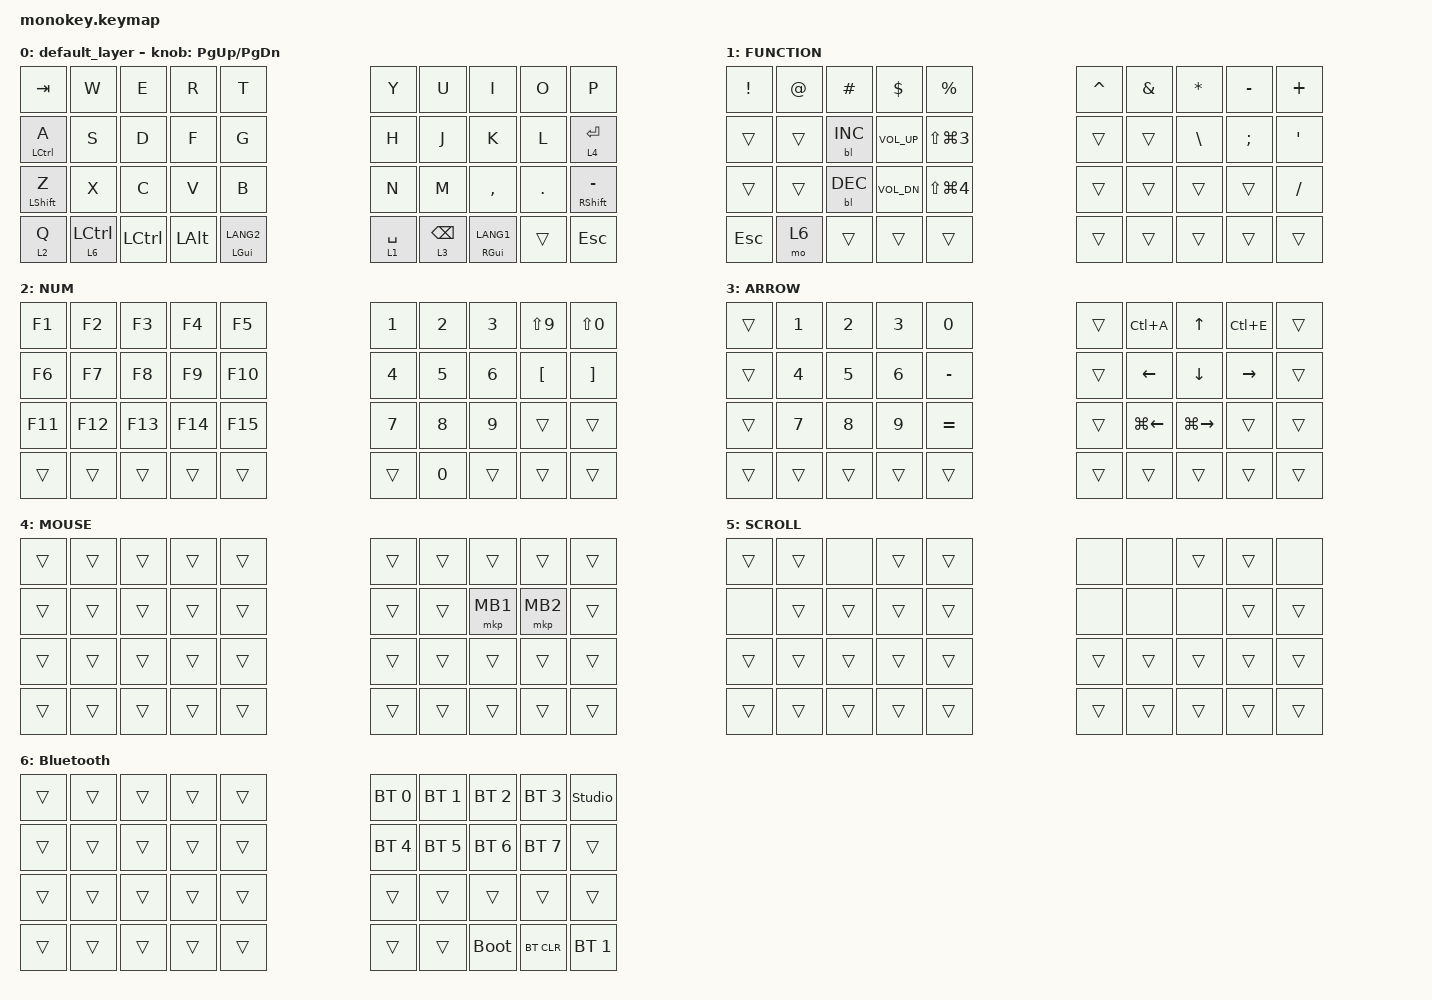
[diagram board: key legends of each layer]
#include <behaviors.dtsi>
#include <dt-bindings/zmk/backlight.h>
#include <dt-bindings/zmk/bt.h>
#include <dt-bindings/zmk/keys.h>
#include <dt-bindings/zmk/pointing.h>

#define MOUSE 4
#define SCROLL 5
#define NUM 6

&mt {
    flavor = "balanced";
    tapping-term-ms = <280>;
    quick-tap-ms = <175>;
    require-prior-idle-ms = <150>;};

&lt { quick-tap-ms = <300>; };

/ {
    combos {
        compatible = "zmk,combos";

        scroll {
            bindings = <&mo 5>;
            key-positions = <17 18>;
        };
    };

    behaviors {
        right_click: right_click_behavior {
            compatible = "zmk,behavior-mouse-key";
            label = "RIGHT_CLICK";
            #binding-cells = <0>;
            bindings = <&mkp MB2>;
        };
    };

    keymap {
        compatible = "zmk,keymap";

        default_layer {
            bindings = <
&kp TAB       &kp W        &kp E      &kp R     &kp T                                         &kp Y           &kp U  &kp I      &kp O    &kp P
&mt LCTRL A   &kp S        &kp D      &kp F     &kp G                                         &kp H           &kp J  &kp K      &kp L    &lt 4 ENTER
&mt LSHIFT Z  &kp X        &kp C      &kp V     &kp B                                         &kp N           &kp M  &kp COMMA  &kp DOT  &mt RSHIFT MINUS
&lt 2 Q       &lt 6 LCTRL  &kp LCTRL  &kp LALT  &mt LGUI LANG2  &lt 1 SPACE  &lt 3 BACKSPACE  &mt RGUI LANG1                    &trans   &kp ESC
            >;

            sensor-bindings = <&inc_dec_kp PG_UP PAGE_DOWN>;
        };

        FUNCTION {
            bindings = <
&kp EXCL  &kp AT  &kp HASH    &kp DLLR      &kp PRCNT                       &kp CARET  &kp AMPS  &kp ASTRK  &kp MINUS  &kp PLUS
&trans    &trans  &bl BL_INC  &kp C_VOL_UP  &kp LS(LG(N3))                  &trans     &trans    &kp BSLH   &kp SEMI   &kp SQT
&trans    &trans  &bl BL_DEC  &kp C_VOL_DN  &kp LS(LG(N4))                  &trans     &trans    &trans     &trans     &kp SLASH
&kp ESC   &mo 6   &trans      &trans        &trans          &trans  &trans  &trans                          &trans     &trans
            >;
        };

        NUM {
            bindings = <
&kp F1   &kp F2   &kp F3   &kp F4   &kp F5                   &kp N1  &kp N2  &kp N3  &kp LS(N9)  &kp LS(N0)
&kp F6   &kp F7   &kp F8   &kp F9   &kp F10                  &kp N4  &kp N5  &kp N6  &kp LBKT    &kp RBKT
&kp F11  &kp F12  &kp F13  &kp F14  &kp F15                  &kp N7  &kp N8  &kp N9  &trans      &trans
&trans   &trans   &trans   &trans   &trans   &trans  &kp N0  &trans                  &trans      &trans
            >;
        };

        ARROW {
            bindings = <
&trans  &kp N1  &kp N2  &kp N3  &kp N0                     &trans  &kp LC(A)     &kp UP         &kp LC(E)  &trans
&trans  &kp N4  &kp N5  &kp N6  &kp MINUS                  &trans  &kp LEFT      &kp DOWN       &kp RIGHT  &trans
&trans  &kp N7  &kp N8  &kp N9  &kp EQUAL                  &trans  &kp LG(LEFT)  &kp LG(RIGHT)  &trans     &trans
&trans  &trans  &trans  &trans  &trans     &trans  &trans  &trans                               &trans     &trans
            >;
        };

        MOUSE {
            bindings = <
&trans  &trans  &trans  &trans  &trans                  &trans  &trans  &trans    &trans    &trans
&trans  &trans  &trans  &trans  &trans                  &trans  &trans  &mkp MB1  &mkp MB2  &trans
&trans  &trans  &trans  &trans  &trans                  &trans  &trans  &trans    &trans    &trans
&trans  &trans  &trans  &trans  &trans  &trans  &trans  &trans                    &trans    &trans
            >;
        };

        SCROLL {
            bindings = <
&trans  &trans  &none   &trans  &trans                  &none   &none   &trans  &trans  &none
&none   &trans  &trans  &trans  &trans                  &none   &none   &none   &trans  &trans
&trans  &trans  &trans  &trans  &trans                  &trans  &trans  &trans  &trans  &trans
&trans  &trans  &trans  &trans  &trans  &trans  &trans  &trans                  &trans  &trans
            >;
        };

        Bluetooth {
            bindings = <
&trans  &trans  &trans  &trans  &trans                  &bt BT_SEL 0  &bt BT_SEL 1  &bt BT_SEL 2  &bt BT_SEL 3  &studio_unlock
&trans  &trans  &trans  &trans  &trans                  &bt BT_SEL 4  &bt BT_SEL 5  &bt BT_SEL 6  &bt BT_SEL 7  &trans
&trans  &trans  &trans  &trans  &trans                  &trans        &trans        &trans        &trans        &trans
&trans  &trans  &trans  &trans  &trans  &trans  &trans  &bootloader                               &bt BT_CLR    &bt BT_SEL 1
            >;
        };
    };
};
